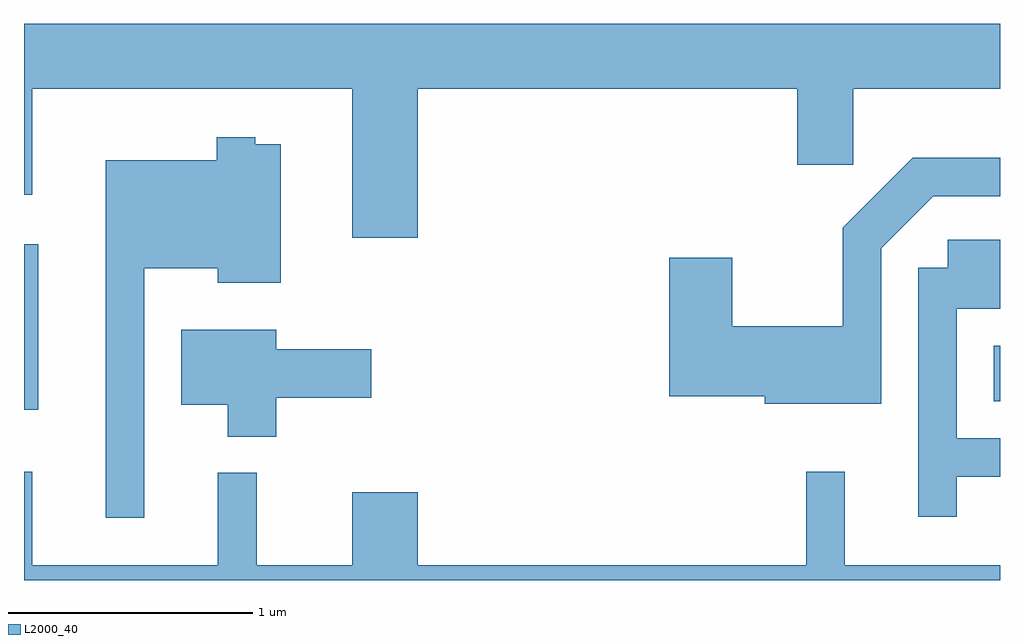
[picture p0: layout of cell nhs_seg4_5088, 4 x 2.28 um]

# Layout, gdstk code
import gdstk
lib = gdstk.Library(unit=1e-6, precision=1e-09)
def R(c, l, rs):  # rectangles x0, y0, x1, y1
    for r in rs: c.add(gdstk.rectangle(r[:2], r[2:], *l))
def P(c, l, *ps):  # polygons
    for p in ps: c.add(gdstk.Polygon(p, *l))
L2000_40 = (2000, 40)

nhs_seg4_5088 = lib.new_cell('nhs_seg4_5088')
R(nhs_seg4_5088, L2000_40, [(333.611,1366.681,333.669,1367.359), (337.586,1366.716,337.611,1366.944)])
P(nhs_seg4_5088, L2000_40, [(335.224,1367.996),(336.781,1367.996),(336.781,1367.686),(337.009,1367.686),(337.009,1367.996),(337.611,1367.996),(337.611,1368.264),(333.611,1368.264),(333.611,1367.563),(333.644,1367.563),(333.644,1367.996),(334.956,1367.996),(334.956,1367.386),(335.224,1367.386)],
  [(334.104,1367.261),(334.406,1367.261),(334.406,1367.201),(334.664,1367.201),(334.664,1367.769),(334.559,1367.769),(334.559,1367.799),(334.401,1367.799),(334.401,1367.704),(333.946,1367.704),(333.946,1366.238),(334.104,1366.238)],
  [(337.124,1367.344),(337.337,1367.556),(337.611,1367.556),(337.611,1367.714),(337.254,1367.714),(336.966,1367.427),(336.966,1367.024),(336.514,1367.024),(336.514,1367.304),(336.256,1367.304),(336.256,1366.736),(336.646,1366.736),(336.646,1366.706),(337.124,1366.706)],
  [(337.434,1366.406),(337.611,1366.406),(337.611,1366.564),(337.434,1366.564),(337.434,1367.096),(337.611,1367.096),(337.611,1367.379),(337.396,1367.379),(337.396,1367.264),(337.276,1367.264),(337.276,1366.243),(337.434,1366.243)],
  [(334.644,1366.731),(335.034,1366.731),(335.034,1366.929),(334.644,1366.929),(334.644,1367.009),(334.256,1367.009),(334.256,1366.701),(334.446,1366.701),(334.446,1366.571),(334.644,1366.571)],
  [(337.611,1366.044),(336.974,1366.044),(336.974,1366.428),(336.816,1366.428),(336.816,1366.044),(335.224,1366.044),(335.224,1366.344),(334.956,1366.344),(334.956,1366.044),(334.564,1366.044),(334.564,1366.423),(334.406,1366.423),(334.406,1366.044),(333.644,1366.044),(333.644,1366.428),(333.611,1366.428),(333.611,1365.982),(337.611,1365.982)])

lib.write_gds('nhs_seg4_5088.gds')
